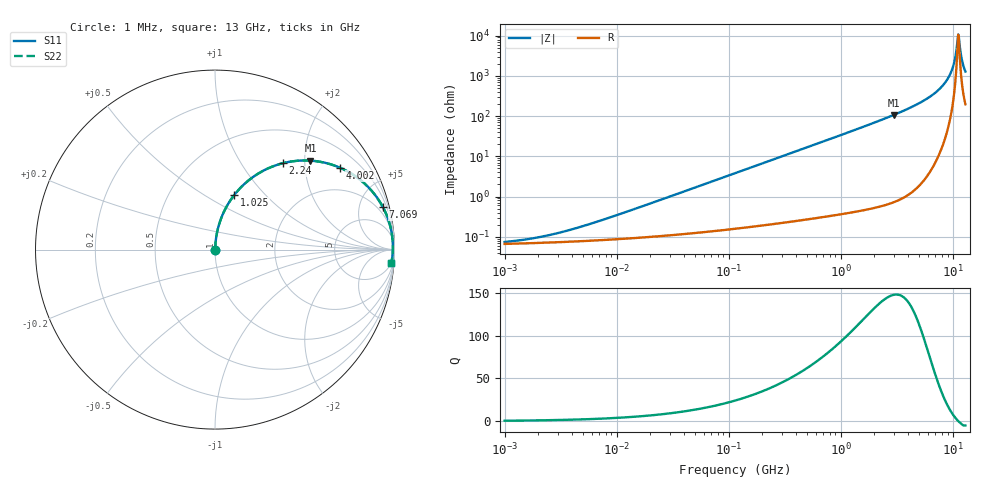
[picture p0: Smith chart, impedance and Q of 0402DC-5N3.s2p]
# MHz  S  MA  R  50
!Freq  MagS11  AngS11  MagS21  AngS21  MagS12  AngS12  MagS22  AngS22
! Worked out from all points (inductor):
!   801 points, 1 MHz to 13 GHz, reference 50 ohm
!   read as one part in series: L = 5.3 nH near 7.496 MHz
!   highest Q = 148 at 2.976 GHz (marker M1), where L = 5.7 nH
!   self-resonance near 11.22 GHz
!   S11 on the Smith chart (normalised r, x): 1 MHz: 1.00, +0.00; 1.025 GHz: 1.01, +0.69; 2.24 GHz: 1.01, +1.55; 4.002 GHz: 1.02, +3.05; 7.069 GHz: 1.15, +7.78; 13 GHz: 5, -25
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1  0.0007428 26.6  0.9993 -0.0  0.9993 -0.0  0.0007428 26.6
2.160238  0.001009 45.4  0.9993 -0.0  0.9993 -0.0  0.001009 45.4
4.893145  0.001805 64.4  0.9992 -0.1  0.9992 -0.1  0.001805 64.4
23.66083  0.007938 82.1  0.9989 -0.5  0.9989 -0.5  0.007938 82.1
114.4121  0.03805 85.4  0.9977 -2.2  0.9977 -2.2  0.03805 85.4
553.2402  0.1811 78.7  0.9807 -10.4  0.9807 -10.4  0.1811 78.7
1024.507  0.3243 70.5  0.9425 -18.9  0.9425 -18.9  0.3243 70.5
1532.799  0.4598 62.1  0.8841 -27.4  0.8841 -27.4  0.4598 62.1
2239.561  0.6112 51.9  0.787 -37.7  0.787 -37.7  0.6112 51.9
2707.084  0.689 46.1  0.72 -43.6  0.72 -43.6  0.689 46.1
2976.262  0.7268 43.0  0.6819 -46.6  0.6819 -46.6  0.7268 43.0
4002.448  0.8337 33.1  0.5463 -56.5  0.5463 -56.5  0.8337 33.1
5511.535  0.9206 22.4  0.3811 -67.0  0.3811 -67.0  0.9206 22.4
7068.745  0.9641 14.3  0.2478 -74.6  0.2478 -74.6  0.9641 14.3
8344.279  0.9816 9.1  0.1589 -78.8  0.1589 -78.8  0.9816 9.1
9394.002  0.9886 5.5  0.09585 -80.4  0.09585 -80.4  0.9886 5.5
10086.2  0.9907 3.3  0.05833 -79.1  0.05833 -79.1  0.9907 3.3
10829.41  0.9912 1.2  0.02193 -65.6  0.02193 -65.6  0.9912 1.2
11221.3  0.9908 0.1  0.009275 -8.3  0.009275 -8.3  0.9908 0.1
11627.38  0.9901 -1.0  0.01996 59.7  0.01996 59.7  0.9901 -1.0
12337.09  0.988 -2.8  0.04984 74.7  0.04984 74.7  0.988 -2.8
13000  0.9852 -4.4  0.07711 76.8  0.07711 76.8  0.9852 -4.4
